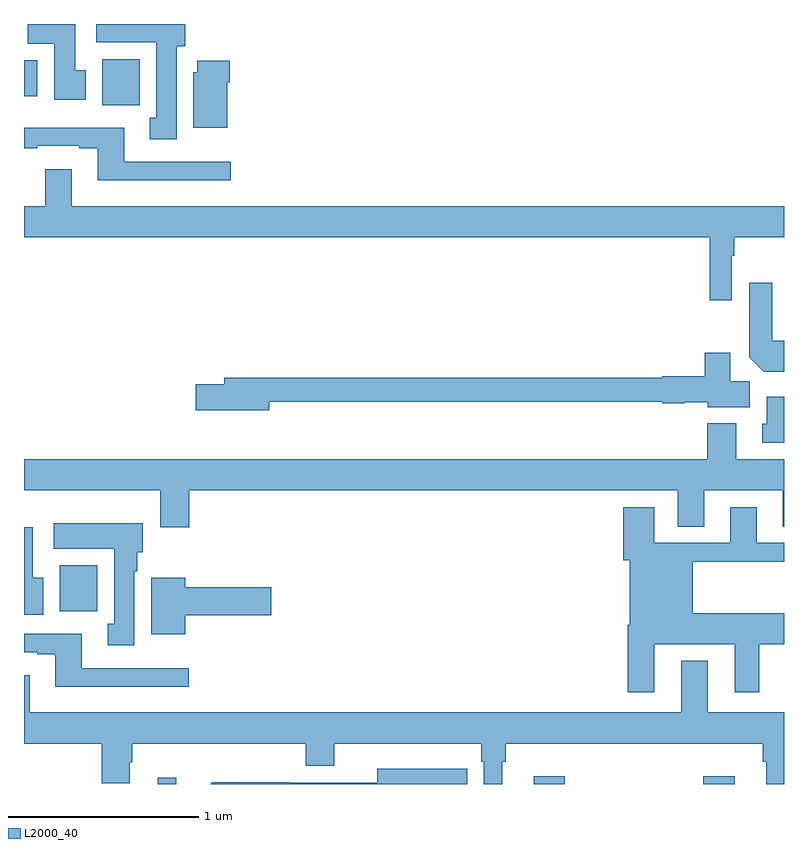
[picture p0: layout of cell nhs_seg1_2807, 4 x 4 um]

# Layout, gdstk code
import gdstk
lib = gdstk.Library(unit=1e-6, precision=1e-09)
def R(c, l, rs):  # rectangles x0, y0, x1, y1
    for r in rs: c.add(gdstk.rectangle(r[:2], r[2:], *l))
def P(c, l, *ps):  # polygons
    for p in ps: c.add(gdstk.Polygon(p, *l))
L2000_40 = (2000, 40)

nhs_seg1_2807 = lib.new_cell('nhs_seg1_2807')
R(nhs_seg1_2807, L2000_40, [(263.705,538.199,263.802,538.231), (265.682,538.199,265.846,538.24), (266.576,538.199,266.74,538.24), (263.189,539.108,263.386,539.35), (263.411,541.772,263.608,542.014), (263,541.82,263.071,542.008)])
P(nhs_seg1_2807, L2000_40, [(263.326,541.956),(263.269,541.956),(263.269,542.199),(263.02,542.199),(263.02,542.096),(263.159,542.096),(263.159,541.8),(263.326,541.8)],
  [(263.803,542.082),(263.848,542.082),(263.848,542.199),(263.379,542.199),(263.379,542.102),(263.696,542.102),(263.696,541.706),(263.663,541.706),(263.663,541.593),(263.803,541.593)],
  [(264.07,541.892),(264.083,541.892),(264.083,542.005),(263.912,542.005),(263.912,541.944),(263.891,541.944),(263.891,541.652),(264.07,541.652)],
  [(264.088,541.473),(263.527,541.473),(263.527,541.654),(263,541.654),(263,541.545),(263.071,541.545),(263.071,541.557),(263.291,541.557),(263.291,541.545),(263.387,541.545),(263.387,541.376),(264.088,541.376)],
  [(266.724,540.98),(266.737,540.98),(266.737,541.076),(267,541.076),(267,541.24),(263.251,541.24),(263.251,541.435),(263.111,541.435),(263.111,541.24),(263,541.24),(263,541.076),(266.608,541.076),(266.608,540.744),(266.724,540.744)],
  [(267,540.532),(266.938,540.532),(266.938,540.838),(266.816,540.838),(266.816,540.446),(266.894,540.368),(267,540.368)],
  [(264.292,540.21),(266.358,540.21),(266.358,540.202),(266.478,540.202),(266.478,540.209),(266.598,540.209),(266.598,540.182),(266.821,540.182),(266.821,540.32),(266.716,540.32),(266.716,540.469),(266.582,540.469),(266.582,540.346),(266.358,540.346),(266.358,540.338),(264.053,540.338),(264.053,540.302),(263.904,540.302),(263.904,540.167),(264.292,540.167)],
  [(267,540.238),(266.909,540.238),(266.909,540.096),(266.885,540.096),(266.885,539.994),(267,539.994)],
  [(263,539.744),(263.717,539.744),(263.717,539.55),(263.87,539.55),(263.87,539.744),(266.441,539.744),(266.441,539.554),(266.581,539.554),(266.581,539.744),(266.993,539.744),(266.993,539.554),(267,539.554),(267,539.908),(266.749,539.908),(266.749,540.097),(266.597,540.097),(266.597,539.908),(263,539.908)],
  [(266.317,538.934),(266.741,538.934),(266.741,538.683),(266.869,538.683),(266.869,538.934),(267,538.934),(267,539.098),(266.521,539.098),(266.521,539.368),(267,539.368),(267,539.469),(266.857,539.469),(266.857,539.656),(266.717,539.656),(266.717,539.469),(266.317,539.469),(266.317,539.656),(266.153,539.656),(266.153,539.376),(266.189,539.376),(266.189,539.038),(266.177,539.038),(266.177,538.683),(266.317,538.683)],
  [(263.581,539.318),(263.596,539.318),(263.596,539.418),(263.626,539.418),(263.626,539.572),(263.157,539.572),(263.157,539.438),(263.474,539.438),(263.474,539.042),(263.441,539.042),(263.441,538.929),(263.581,538.929)],
  [(263.101,539.284),(263.047,539.284),(263.047,539.551),(263,539.551),(263,539.091),(263.101,539.091)],
  [(263.848,539.087),(264.301,539.087),(264.301,539.234),(263.848,539.234),(263.848,539.284),(263.669,539.284),(263.669,538.988),(263.848,538.988)],
  [(263.866,538.809),(263.305,538.809),(263.305,538.989),(263,538.989),(263,538.893),(263.069,538.893),(263.069,538.881),(263.165,538.881),(263.165,538.712),(263.866,538.712)],
  [(265.516,538.316),(265.535,538.316),(265.535,538.412),(266.887,538.412),(266.887,538.316),(266.906,538.316),(266.906,538.199),(267,538.199),(267,538.576),(266.599,538.576),(266.599,538.849),(266.459,538.849),(266.459,538.576),(263.029,538.576),(263.029,538.771),(263,538.771),(263,538.412),(263.41,538.412),(263.41,538.204),(263.557,538.204),(263.557,538.314),(263.57,538.314),(263.57,538.412),(264.482,538.412),(264.482,538.295),(264.634,538.295),(264.634,538.412),(265.406,538.412),(265.406,538.316),(265.419,538.316),(265.419,538.199),(265.516,538.199)],
  [(265.334,538.278),(265.226,538.278),(265.226,538.279),(264.858,538.279),(264.858,538.206),(264.398,538.206),(264.398,538.208),(263.99,538.208),(263.981,538.199),(265.334,538.199)])

lib.write_gds('nhs_seg1_2807.gds')
